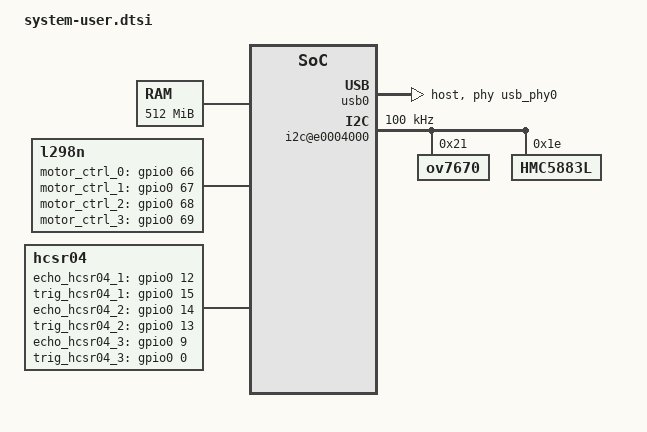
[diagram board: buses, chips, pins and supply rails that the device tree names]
/include/ "system-conf.dtsi"
/ {

		memory {
		device_type = "memory";
		reg = <0x0 0x20000000>;
	};

	reserved-memory {
		#address-cells = <1>;
		#size-cells = <1>;
		ranges;

		reservedmemory0: reservedmemory0@0x01000000{
												no-map;
												reg = <0x01000000 0x800000>;
											};
		reservedmemory1: reservedmemory0@0x02000000{
												no-map;
												reg = <0x02000000 0x800000>;
											};
	};

	chosen {
		bootargs = "console=ttyPS0,115200 earlyprintk root=/dev/mmcblk0p2 rw rootwait cma=15M coherent_pool=4M";
	};

	usb_phy0: usb_phy@0 {
		compatible = "ulpi-phy";
		#phy-cells = <0>;
		reg = <0xe0002000 0x1000>;
		view-port = <0x0170>;
		drv-vbus;
	};

	cpus {
		cpu@0 {
			operating-points = <666667 1000000 333334 1000000 166667 1000000 83334 1000000 41667 1000000>;
		};
	};
};

&usb0 {	
	dr_mode = "host";
	usb-phy = <&usb_phy0>;
};

&amba_pl {

	dma@43000000 {
		compatible = "vdma_control_driver";	
		reg = <0x43000000 0x10000>, <0x01000000 0x800000>;
		interrupts = <0 31 4>;
		memory-region = <&reservedmemory0>;
	};
	
	l298n {
		compatible = "l298n";
		motor_ctrl_0-gpios = <&gpio0 66 0>;	
		motor_ctrl_1-gpios = <&gpio0 67 0>;
		motor_ctrl_2-gpios = <&gpio0 68 0>;
		motor_ctrl_3-gpios = <&gpio0 69 0>;
	};

	axi_timer {
		compatible = "axi_timer_pwm";	
		reg = <0x42800000 0x10000>, <0x42810000 0x10000>, <0x42830000 0x10000>, <0x42820000 0x10000>;
		reset-0-gpios = <&gpio0 62 0>;
		reset-1-gpios = <&gpio0 64 0>;
		reset-2-gpios = <&gpio0 65 0>;
		reset-3-gpios = <&gpio0 63 0>;
		clock-frequency = <100000000>;
		pwm-frequency = <500>;
	};

	mailbox@43800000 {
		compatible = "axi_mailbox";
		interrupt-names = "interrupt";
		interrupt-parent = <0x04>;
		interrupts = <0 32 4>;
	};

};


&amba {

	hcsr04 {
		compatible = "hcsr04";
		echo_hcsr04_1-gpios = <&gpio0 12 0>;
		trig_hcsr04_1-gpios = <&gpio0 15 0>;
		
		echo_hcsr04_2-gpios = <&gpio0 14 0>;
		trig_hcsr04_2-gpios = <&gpio0 13 0>;

		echo_hcsr04_3-gpios = <&gpio0 9 0>;
		trig_hcsr04_3-gpios = <&gpio0 0 0>;
	};

	buttons {
		compatible = "buttons";
		interrupt-names = "interrupt";
		interrupt-parent = <0x04>;
		interrupts = <0 33 4>, <0 34 4>, <0 35 4>, <0 36 4>;
	};
	
	i2c@e0004000 {
		status = "okay";
		clock-frequency = <100000>;
		
		i2c@0 {
			reg = <0>;
			ov7670@0x21 {
				compatible = "ov7670";
				reg = <0x21>;
			};
			HMC5883L@0x1E {
				compatible = "HMC5883L";
				reg = <0x1E>;
			};
		};
	};
	

	slcr@f8000000 {
		pinctrl@700 {
			pinctrl_sensor_power: sensor_power {
				function = "gpio0";
				bias-disable;
			};

			pinctrl_sensor_reset: sensor_reset {
				function = "gpio0";
				bias-disable;
			};
		};
	};

};	







